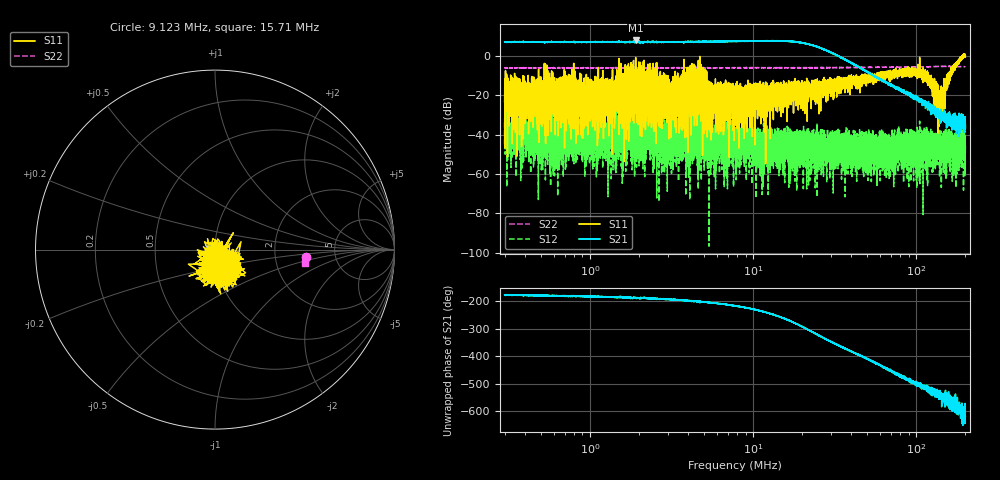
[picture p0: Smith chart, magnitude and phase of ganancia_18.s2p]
# Hz S DB R 50
! CMT, M5065, 19127446, 24.2.4/2
! Date: 11/1/2024 4:25:27 PM
! Data: Format (Calibration Info)
! Freq	S11:dB/Ang(F2)	S21:dB/Ang(F2)	S12:dB/Ang(F2)	S22:dB/Ang(F2)
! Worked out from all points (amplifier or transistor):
!   9000 points, 300 kHz to 200 MHz, reference 50 ohm
!   highest |S21| = 8.0 dB at 1.907 MHz (marker M1)
!   |S21| within 3 dB of that: start of sweep to 24.14 MHz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
!   unconditionally stable (mu >= 1): start of sweep to 4.716 MHz; 4.718 MHz to 189.8 MHz; 190 MHz to 191.1 MHz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
!   at 886.8 kHz: K = 14.75, MAG = 8.6 dB, |S12| = -39.3 dB
!   at 7.749 MHz: K = 28.63, MAG = 9.0 dB, |S12| = -45.5 dB
!   at 200 MHz: K = -215.13, MSG = 5.7 dB, |S12| = -46.5 dB
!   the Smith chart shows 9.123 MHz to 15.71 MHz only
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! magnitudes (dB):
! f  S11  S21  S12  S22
! 300 kHz  -23.1  7.3  -33.4  -6.0
! 319.5 kHz  -23.5  7.2  -25.4  -6.1
! 689.1 kHz  -11.9  7.0  -45.7  -5.8
! 886.8 kHz  -19.2  7.3  -39.3  -5.9
! 1.907 MHz  -0.6  8.0  -35.2  -5.9
! 2.621 MHz  -33.3  7.2  -43.0  -5.9
! 3.075 MHz  -23.1  7.2  -37.8  -5.9
! 3.279 MHz  -19.5  7.3  -33.4  -5.8
! 4.157 MHz  -16.6  7.3  -44.8  -5.8
! 4.646 MHz  -26.0  7.3  -46.5  -5.9
! 5.291 MHz  -23.6  7.4  -34.4  -5.9
! 6.74 MHz  -26.2  7.5  -55.6  -5.9
! 7.749 MHz  -19.8  7.6  -45.5  -5.8
! 11.16 MHz  -18.4  7.8  -43.1  -5.9
! 22.91 MHz  -17.8  5.6  -51.0  -5.9
! 67.71 MHz  -8.1  -14.2  -40.6  -5.6
! 108.4 MHz  -8.7  -23.1  -45.9  -5.4
! 123.2 MHz  -14.4  -27.6  -43.6  -5.3
! 140.3 MHz  -33.1  -29.0  -56.5  -5.2
! 152.1 MHz  -15.8  -31.7  -46.5  -5.2
! 165.7 MHz  -6.7  -37.6  -50.2  -5.2
! 200 MHz  0.2  -35.2  -46.5  -5.3
